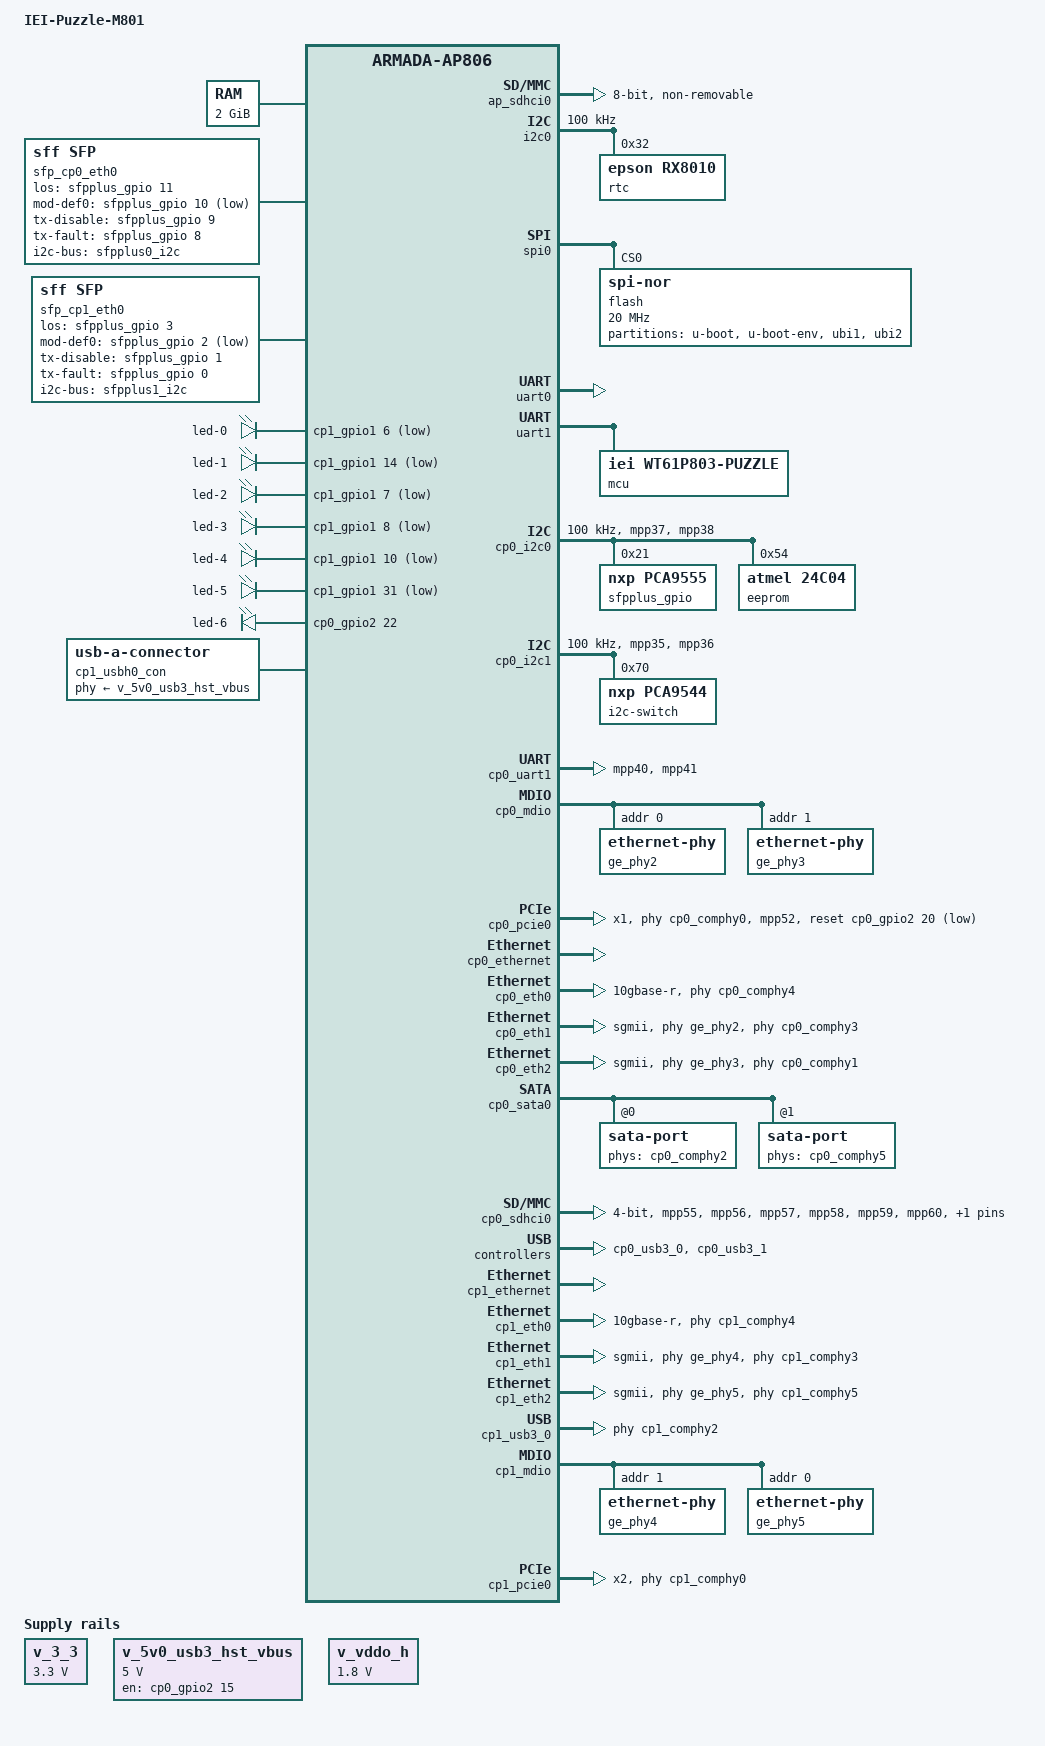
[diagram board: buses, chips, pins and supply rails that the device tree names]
// SPDX-License-Identifier: (GPL-2.0+ OR MIT)
/*
 * Copyright (C) 2016 Marvell Technology Group Ltd.
 * Copyright (C) 2020 Sartura Ltd.
 *
 * Device Tree file for IEI Puzzle-M801
 */

#include "armada-8040.dtsi"

#include <dt-bindings/gpio/gpio.h>
#include <dt-bindings/leds/common.h>

/ {
	model = "IEI-Puzzle-M801";
	compatible = "marvell,armada8040", "marvell,armada-ap806-quad", "marvell,armada-ap806";

	aliases {
		ethernet0 = &cp0_eth0;
		ethernet1 = &cp1_eth0;
		ethernet2 = &cp0_eth1;
		ethernet3 = &cp0_eth2;
		ethernet4 = &cp1_eth1;
		ethernet5 = &cp1_eth2;
	};

	chosen {
		stdout-path = "serial0:115200n8";
	};

	memory@0 {
		device_type = "memory";
		reg = <0x0 0x0 0x0 0x80000000>;
	};

	/* Regulator labels correspond with schematics */
	v_3_3: regulator-3-3v {
		compatible = "regulator-fixed";
		regulator-name = "v_3_3";
		regulator-min-microvolt = <3300000>;
		regulator-max-microvolt = <3300000>;
		regulator-always-on;
		status = "okay";
	};

	v_5v0_usb3_hst_vbus: regulator-usb3-vbus0 {
		compatible = "regulator-fixed";
		enable-active-high;
		gpio = <&cp0_gpio2 15 GPIO_ACTIVE_HIGH>;
		pinctrl-names = "default";
		pinctrl-0 = <&cp0_xhci_vbus_pins>;
		regulator-name = "v_5v0_usb3_hst_vbus";
		regulator-min-microvolt = <5000000>;
		regulator-max-microvolt = <5000000>;
		status = "okay";
	};

	v_vddo_h: regulator-1-8v {
		compatible = "regulator-fixed";
		regulator-name = "v_vddo_h";
		regulator-min-microvolt = <1800000>;
		regulator-max-microvolt = <1800000>;
		regulator-always-on;
		status = "okay";
	};

	sfp_cp0_eth0: sfp-cp0-eth0 {
		compatible = "sff,sfp";
		i2c-bus = <&sfpplus0_i2c>;
		los-gpio = <&sfpplus_gpio 11 GPIO_ACTIVE_HIGH>;
		mod-def0-gpio = <&sfpplus_gpio 10 GPIO_ACTIVE_LOW>;
		tx-disable-gpio = <&sfpplus_gpio 9 GPIO_ACTIVE_HIGH>;
		tx-fault-gpio  = <&sfpplus_gpio 8 GPIO_ACTIVE_HIGH>;
		maximum-power-milliwatt = <3000>;
	};

	sfp_cp1_eth0: sfp-cp1-eth0 {
		compatible = "sff,sfp";
		i2c-bus = <&sfpplus1_i2c>;
		los-gpio = <&sfpplus_gpio 3 GPIO_ACTIVE_HIGH>;
		mod-def0-gpio = <&sfpplus_gpio 2 GPIO_ACTIVE_LOW>;
		tx-disable-gpio = <&sfpplus_gpio 1 GPIO_ACTIVE_HIGH>;
		tx-fault-gpio  = <&sfpplus_gpio 0 GPIO_ACTIVE_HIGH>;
		maximum-power-milliwatt = <3000>;
	};

	leds {
		compatible = "gpio-leds";
		status = "okay";
		pinctrl-0 = <&cp0_sfpplus_led_pins &cp1_sfpplus_led_pins>;
		pinctrl-names = "default";

		led-0 {
			/* SFP+ port 2: Activity */
			function = LED_FUNCTION_LAN;
			function-enumerator = <0>;
			gpios = <&cp1_gpio1 6 GPIO_ACTIVE_LOW>;
		};

		led-1 {
			/* SFP+ port 1: Activity */
			function = LED_FUNCTION_LAN;
			function-enumerator = <1>;
			gpios = <&cp1_gpio1 14 GPIO_ACTIVE_LOW>;
		};

		led-2 {
			/* SFP+ port 2: 10 Gbps indicator */
			function = LED_FUNCTION_LAN;
			function-enumerator = <2>;
			gpios = <&cp1_gpio1 7 GPIO_ACTIVE_LOW>;
		};

		led-3 {
			/* SFP+ port 2: 1 Gbps indicator */
			function = LED_FUNCTION_LAN;
			function-enumerator = <3>;
			gpios = <&cp1_gpio1 8 GPIO_ACTIVE_LOW>;
		};

		led-4 {
			/* SFP+ port 1: 10 Gbps indicator */
			function = LED_FUNCTION_LAN;
			function-enumerator = <4>;
			gpios = <&cp1_gpio1 10 GPIO_ACTIVE_LOW>;
		};

		led-5 {
			/* SFP+ port 1: 1 Gbps indicator */
			function = LED_FUNCTION_LAN;
			function-enumerator = <5>;
			gpios = <&cp1_gpio1 31 GPIO_ACTIVE_LOW>;
		};

		led-6 {
			function = LED_FUNCTION_DISK;
			linux,default-trigger = "disk-activity";
			gpios = <&cp0_gpio2 22 GPIO_ACTIVE_HIGH>;
		};

	};
};

&ap_sdhci0 {
	bus-width = <8>;
	/*
	 * Not stable in HS modes - phy needs "more calibration", so add
	 * the "slow-mode" and disable SDR104, SDR50 and DDR50 modes.
	 */
	marvell,xenon-phy-slow-mode;
	no-1-8-v;
	no-sd;
	no-sdio;
	non-removable;
	status = "okay";
	vqmmc-supply = <&v_vddo_h>;
};

&ap_thermal_cpu1 {
	trips {
		cpu_active: cpu-active {
			temperature = <44000>;
			hysteresis = <2000>;
			type = "active";
		};
	};
	cooling-maps {
		fan-map {
			trip = <&cpu_active>;
			cooling-device = <&chassis_fan_group0 64 THERMAL_NO_LIMIT>,
					<&chassis_fan_group1 64 THERMAL_NO_LIMIT>;
		};
	};
};

&i2c0 {
	clock-frequency = <100000>;
	status = "okay";

	rtc@32 {
		compatible = "epson,rx8010";
		reg = <0x32>;
	};
};

&spi0 {
	status = "okay";
	flash@0 {
		#address-cells = <0x1>;
		#size-cells = <0x1>;
		compatible = "jedec,spi-nor";
		reg = <0x0>;
		spi-max-frequency = <20000000>;
		partition@u-boot {
			label = "u-boot";
			reg = <0x00000000 0x001f0000>;
		};
		partition@u-boot-env {
			label = "u-boot-env";
			reg = <0x001f0000 0x00010000>;
		};
		partition@ubi1 {
			label = "ubi1";
			reg = <0x00200000 0x03f00000>;
		};
		partition@ubi2 {
			label = "ubi2";
			reg = <0x04100000 0x03f00000>;
		};
	};
};

&uart0 {
	status = "okay";
	pinctrl-0 = <&uart0_pins>;
	pinctrl-names = "default";
};

&uart1 {
	status = "okay";
	/* IEI WT61P803 PUZZLE MCU Controller */
	mcu {
		compatible = "iei,wt61p803-puzzle";
		current-speed = <115200>;
		enable-beep;

		leds {
			compatible = "iei,wt61p803-puzzle-leds";
			#address-cells = <1>;
			#size-cells = <0>;

			led@0 {
				reg = <0>;
				function = LED_FUNCTION_POWER;
				color = <LED_COLOR_ID_BLUE>;
			};
		};

		hwmon {
			compatible = "iei,wt61p803-puzzle-hwmon";
			#address-cells = <1>;
			#size-cells = <0>;

			chassis_fan_group0:fan-group@0 {
				#cooling-cells = <2>;
				reg = <0x00>;
				cooling-levels = <64 102 170 230 250>;
			};

			chassis_fan_group1:fan-group@1 {
				#cooling-cells = <2>;
				reg = <0x01>;
				cooling-levels = <64 102 170 230 250>;
			};
		};
	};
};

&cp0_rtc {
	status = "disabled";
};

&cp0_i2c0 {
	clock-frequency = <100000>;
	pinctrl-names = "default";
	pinctrl-0 = <&cp0_i2c0_pins>;
	status = "okay";

	sfpplus_gpio: gpio@21 {
		compatible = "nxp,pca9555";
		reg = <0x21>;
		gpio-controller;
		#gpio-cells = <2>;
	};

	eeprom@54 {
		compatible = "atmel,24c04";
		reg = <0x54>;
	};
};

&cp0_i2c1 {
	clock-frequency = <100000>;
	pinctrl-names = "default";
	pinctrl-0 = <&cp0_i2c1_pins>;
	status = "okay";

	i2c-switch@70 {
		compatible = "nxp,pca9544";
		#address-cells = <1>;
		#size-cells = <0>;
		reg = <0x70>;

		sfpplus0_i2c: i2c@0 {
			#address-cells = <1>;
			#size-cells = <0>;
			reg = <0>;
		};

		sfpplus1_i2c: i2c@1 {
			#address-cells = <1>;
			#size-cells = <0>;
			reg = <1>;
		};
	};
};

&cp0_uart1 {
	pinctrl-names = "default";
	pinctrl-0 = <&cp0_uart1_pins>;
	status = "okay";
};

&cp0_mdio {
	#address-cells = <1>;
	#size-cells = <0>;

	status = "okay";

	ge_phy2: ethernet-phy@0 {
		reg = <0>;
	};

	ge_phy3: ethernet-phy@1 {
		reg = <1>;
	};
};

&cp0_pcie0 {
	pinctrl-names = "default";
	pinctrl-0 = <&cp0_pcie_pins>;
	num-lanes = <1>;
	num-viewport = <8>;
	reset-gpios = <&cp0_gpio2 20 GPIO_ACTIVE_LOW>;
	ranges = <0x82000000 0x0 0xc0000000 0x0 0xc0000000 0x0 0x20000000>;
	phys = <&cp0_comphy0 0>;
	phy-names = "cp0-pcie0-x1-phy";
	status = "okay";
};

&cp0_pinctrl {
	cp0_ge_mdio_pins: ge-mdio-pins {
		marvell,pins = "mpp32", "mpp34";
		marvell,function = "ge";
	};
	cp0_i2c1_pins: i2c1-pins {
		marvell,pins = "mpp35", "mpp36";
		marvell,function = "i2c1";
	};
	cp0_i2c0_pins: i2c0-pins {
		marvell,pins = "mpp37", "mpp38";
		marvell,function = "i2c0";
	};
	cp0_uart1_pins: uart1-pins {
		marvell,pins = "mpp40", "mpp41";
		marvell,function = "uart1";
	};
	cp0_xhci_vbus_pins: xhci0-vbus-pins {
		marvell,pins = "mpp47";
		marvell,function = "gpio";
	};
	cp0_pcie_pins: pcie-pins {
		marvell,pins = "mpp52";
		marvell,function = "gpio";
	};
	cp0_sdhci_pins: sdhci-pins {
		marvell,pins = "mpp55", "mpp56", "mpp57", "mpp58", "mpp59",
			       "mpp60", "mpp61";
		marvell,function = "sdio";
	};
	cp0_sfpplus_led_pins: sfpplus-led-pins {
		marvell,pins = "mpp54";
		marvell,function = "gpio";
	};
};

&cp0_ethernet {
	status = "okay";
};

&cp0_eth0 {
	status = "okay";
	phy-mode = "10gbase-r";
	phys = <&cp0_comphy4 0>;
	local-mac-address = [ae 00 00 00 ff 00];
	sfp = <&sfp_cp0_eth0>;
	managed = "in-band-status";
};

&cp0_eth1 {
	status = "okay";
	phy = <&ge_phy2>;
	phy-mode = "sgmii";
	local-mac-address = [ae 00 00 00 ff 01];
	phys = <&cp0_comphy3 1>;
};

&cp0_eth2 {
	status = "okay";
	phy-mode = "sgmii";
	phys = <&cp0_comphy1 2>;
	local-mac-address = [ae 00 00 00 ff 02];
	phy = <&ge_phy3>;
};

&cp0_sata0 {
	status = "okay";

	sata-port@0 {
		phys = <&cp0_comphy2 0>;
		phy-names = "cp0-sata0-0-phy";
	};

	sata-port@1 {
		phys = <&cp0_comphy5 1>;
		phy-names = "cp0-sata0-1-phy";
	};
};

&cp0_sdhci0 {
	broken-cd;
	bus-width = <4>;
	pinctrl-names = "default";
	pinctrl-0 = <&cp0_sdhci_pins>;
	status = "okay";
	vqmmc-supply = <&v_3_3>;
};

&cp0_usb3_0 {
	status = "okay";
};

&cp0_usb3_1 {
	status = "okay";
};

&cp1_i2c0 {
	clock-frequency = <100000>;
	status = "disabled";
};

&cp1_i2c1 {
	clock-frequency = <100000>;
	status = "disabled";
};

&cp1_rtc {
	status = "disabled";
};

&cp1_ethernet {
	status = "okay";
};

&cp1_eth0 {
	status = "okay";
	phy-mode = "10gbase-r";
	phys = <&cp1_comphy4 0>;
	local-mac-address = [ae 00 00 00 ff 03];
	sfp = <&sfp_cp1_eth0>;
	managed = "in-band-status";
};

&cp1_eth1 {
	status = "okay";
	phy = <&ge_phy4>;
	phy-mode = "sgmii";
	local-mac-address = [ae 00 00 00 ff 04];
	phys = <&cp1_comphy3 1>;
};

&cp1_eth2 {
	status = "okay";
	phy-mode = "sgmii";
	local-mac-address = [ae 00 00 00 ff 05];
	phys = <&cp1_comphy5 2>;
	phy = <&ge_phy5>;
};

&cp1_pinctrl {
	cp1_sfpplus_led_pins: sfpplus-led-pins {
		marvell,pins = "mpp6", "mpp7", "mpp8", "mpp10", "mpp14", "mpp31";
		marvell,function = "gpio";
	};
};

&cp1_uart0 {
	status = "disabled";
};

&cp1_comphy2 {
	cp1_usbh0_con: connector {
		compatible = "usb-a-connector";
		phy-supply = <&v_5v0_usb3_hst_vbus>;
	};
};

&cp1_usb3_0 {
	phys = <&cp1_comphy2 0>;
	phy-names = "cp1-usb3h0-comphy";
	status = "okay";
};

&cp1_mdio {
	#address-cells = <1>;
	#size-cells = <0>;

	status = "okay";

	ge_phy4: ethernet-phy@1 {
		reg = <1>;
	};
	ge_phy5: ethernet-phy@0 {
		reg = <0>;
	};
};

&cp1_pcie0 {
	num-lanes = <2>;
	phys = <&cp1_comphy0 0>, <&cp1_comphy1 0>;
	phy-names = "cp1-pcie0-x2-lane0-phy", "cp1-pcie0-x2-lane1-phy";
	status = "okay";
};
